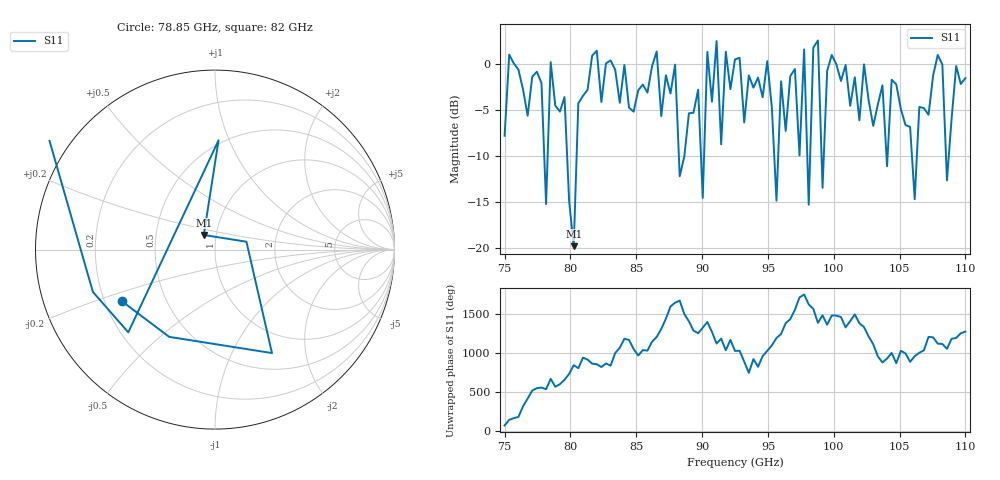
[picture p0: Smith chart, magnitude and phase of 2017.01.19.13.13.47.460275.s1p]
!Created with skrf (http://scikit-rf.org).
# GHz S RI R 50.0
!freq ReS11 ImS11
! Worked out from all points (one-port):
!   101 points, 75 GHz to 110 GHz, reference 50 ohm
!   lowest |S11| = -19.8 dB at 80.25 GHz (marker M1), VSWR 1.23, Z = 43.6 + j7.16 ohm
!   |S11| at or under -10 dB: 78.01078 GHz to 78.26878 GHz (258 MHz wide, 0.33 % of centre); 79.75 GHz to 80.47 GHz (722.7 MHz wide, 0.902 % of centre); 88.23607 GHz to 88.65459 GHz (418.5 MHz wide, 0.473 % of centre) (the widest 3 of 10)
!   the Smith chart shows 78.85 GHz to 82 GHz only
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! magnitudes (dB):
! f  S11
! 75 GHz  -7.8
! 77.45 GHz  -0.9
! 78.15 GHz  -15.2
! 78.5 GHz  0.1
! 79.55 GHz  -3.6
! 80.25 GHz  -19.8
! 80.6 GHz  -4.3
! 81.65 GHz  0.9
! 83.75 GHz  -4.3
! 87.95 GHz  -0.1
! 88.3 GHz  -12.2
! 92.5 GHz  0.4
! 94.95 GHz  0.3
! 95.65 GHz  -14.9
! 96 GHz  -1.9
! 97.05 GHz  -0.6
! 97.4 GHz  -10.0
! 97.75 GHz  1.5
! 98.1 GHz  -15.3
! 98.45 GHz  1.7
! 99.15 GHz  -13.5
! 99.85 GHz  0.9
! 101.2 GHz  -4.6
! 105.8 GHz  -6.8
! 106.2 GHz  -14.7
! 107.9 GHz  0.9
! 108.6 GHz  -12.7
! 110 GHz  -1.6
